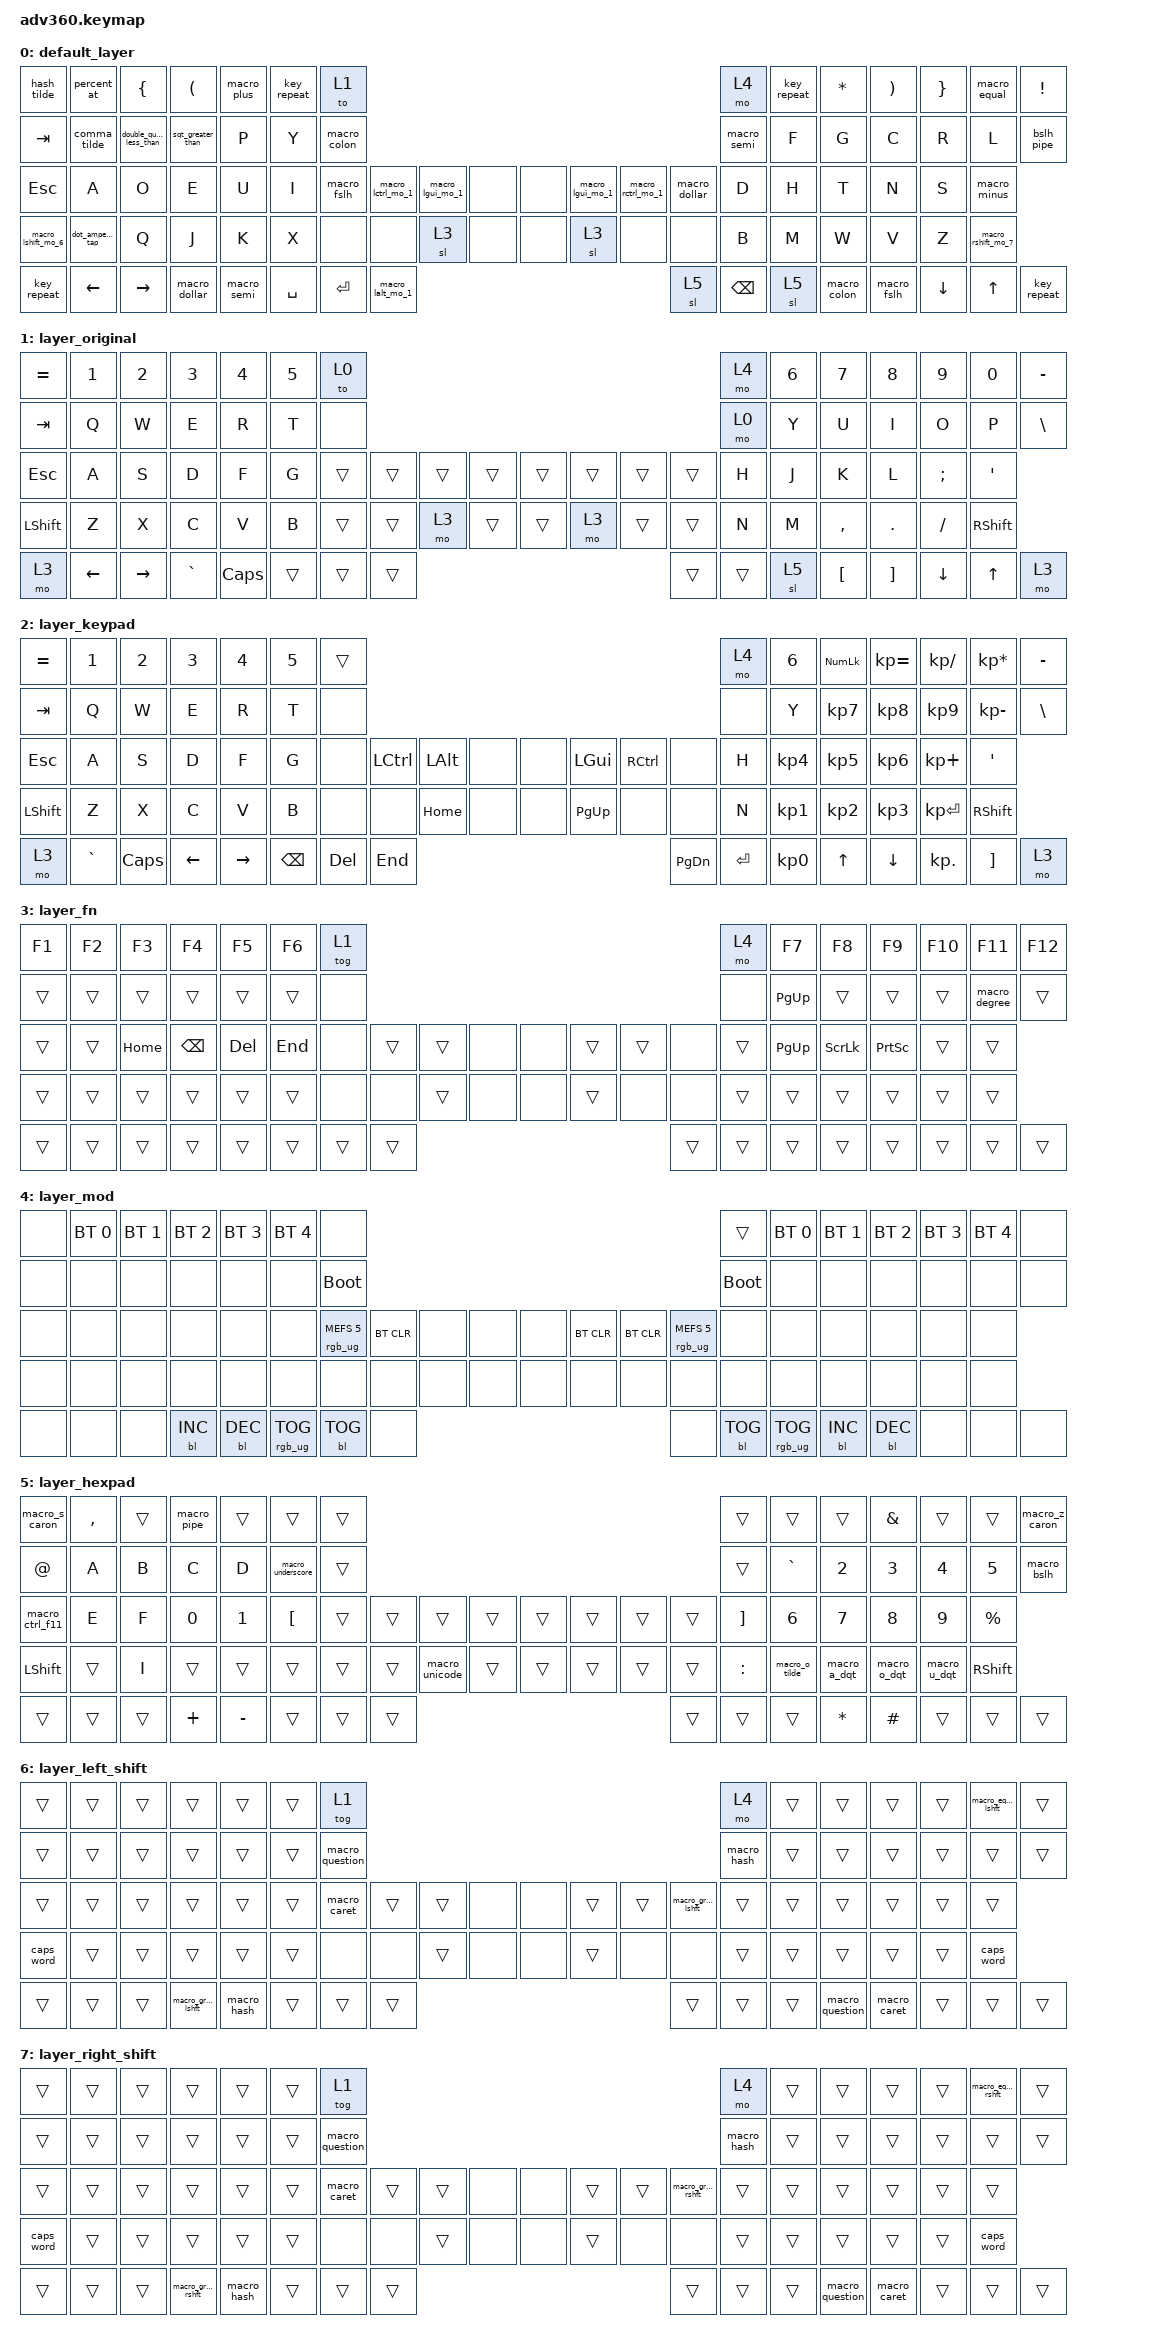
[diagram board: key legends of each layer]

/*
 * Copyright (c) 2020 The ZMK Contributors
 *
 * SPDX-License-Identifier: MIT
 */


/* THIS FILE WAS GENERATED!
 *
 * This file was generated automatically. You may or may not want to
 * edit it directly.
 */

#include <behaviors.dtsi>
#include <dt-bindings/zmk/keys.h>
#include <dt-bindings/zmk/bt.h>
#include <dt-bindings/zmk/rgb.h>
#include <dt-bindings/zmk/backlight.h>

// temporary comment

/ {
  behaviors {
    #include "macros.dtsi"

    hm: homerow_mods {
        compatible = "zmk,behavior-hold-tap";
        label = "HOMEROW_MODS";
        #binding-cells = <2>;
        tapping-term-ms = <200>;
        quick_tap_ms = <175>;
        flavor = "tap-preferred";
        bindings = <&kp>, <&kp>;
    };

    comma_tilde: comma_tilde {
                compatible = "zmk,behavior-mod-morph";
                label = "comma_tilde";
                #binding-cells = <0>;
                bindings = <&kp COMMA>, <&kp TILDE>;
                mods = <(MOD_LSFT|MOD_RSFT)>;
        };
    double_quotes_less_than: double_quotes_less_than {
                compatible = "zmk,behavior-mod-morph";
                label = "double_quotes_less_than";
                #binding-cells = <0>;
                bindings = <&macro_dqt>, <&kp LESS_THAN>;
                mods = <(MOD_LSFT|MOD_RSFT)>;
        };
    sqt_greater_than: sqt_greater_than {
                compatible = "zmk,behavior-mod-morph";
                label = "sqt_greater_than";
                #binding-cells = <0>;
                bindings = <&macro_sqt>, <&kp GREATER_THAN>;
                mods = <(MOD_LSFT|MOD_RSFT)>;
        };
    bslh_pipe: bslh_pipe {
                compatible = "zmk,behavior-mod-morph";
                label = "bslh_pipe";
                #binding-cells = <0>;
                bindings = <&kp BSLH>, <&kp PIPE>;
                mods = <(MOD_LSFT|MOD_RSFT)>;
        };
    fslh_caret: fslh_caret {
                compatible = "zmk,behavior-mod-morph";
                label = "fslh_caret";
                #binding-cells = <0>;
                bindings = <&macro_fslh>, <&macro_caret>;
                mods = <(MOD_LSFT|MOD_RSFT)>;
        };
    dollar_grave: dollar_grave {
                compatible = "zmk,behavior-mod-morph";
                label = "dollar_grave";
                #binding-cells = <0>;
                bindings = <&kp DOLLAR>, <&kp GRAVE>;
                mods = <(MOD_LSFT|MOD_RSFT)>;
        };
    semi_hash: semi_hash {
                compatible = "zmk,behavior-mod-morph";
                label = "semi_hash";
                #binding-cells = <0>;
                bindings = <&kp SEMI>, <&kp HASH>;
                mods = <(MOD_LSFT|MOD_RSFT)>;
        };
    colon_question: colon_question {
                compatible = "zmk,behavior-mod-morph";
                label = "colon_question";
                #binding-cells = <0>;
                bindings = <&kp COLON>, <&kp QUESTION>;
                mods = <(MOD_LSFT|MOD_RSFT)>;
        };
    dot_ampersand: dot_ampersand {
                compatible = "zmk,behavior-mod-morph";
                label = "dot_ampersand";
                #binding-cells = <0>;
                bindings = <&kp DOT>, <&kp AMPERSAND>;
                mods = <(MOD_LSFT|MOD_RSFT)>;
        };
    dot_ampersand_tap: dot_ampersand_tap {
                compatible = "zmk,behavior-mod-morph";
                label = "dot_ampersand_tap";
                #binding-cells = <0>;
                bindings = <&macro_dot>, <&macro_ampersand>;
                mods = <(MOD_LSFT|MOD_RSFT)>;
        };
    hash_tilde: hash_tilde {
                compatible = "zmk,behavior-mod-morph";
                label = "hash_tilde";
                #binding-cells = <0>;
                bindings = <&kp HASH>, <&kp TILDE>;
                mods = <(MOD_LSFT|MOD_RSFT)>;
        };
    percent_at: percent_at {
                compatible = "zmk,behavior-mod-morph";
                label = "percent_at";
                #binding-cells = <0>;
                bindings = <&kp PERCENT>, <&kp AT>;
                mods = <(MOD_LSFT|MOD_RSFT)>;
       };
  };

    keymap {
        compatible = "zmk,keymap";


        default_layer {
            bindings = <
&hash_tilde         &percent_at       &kp LEFT_BRACE            &kp LEFT_PARENTHESIS  &macro_plus     &key_repeat  &to 1                                                                                                                               &mo 4           &key_repeat        &kp ASTRK      &kp RIGHT_PARENTHESIS    &kp RIGHT_BRACE     &macro_equal &kp EXCL
&kp TAB             &comma_tilde      &double_quotes_less_than  &sqt_greater_than     &kp P           &kp Y              &macro_colon                                                                                                                        &macro_semi     &kp F                    &kp G          &kp C                  &kp R             &kp L            &bslh_pipe
&kp ESC             &kp A             &kp O                     &kp E                 &kp U           &kp I              &macro_fslh                 &macro_lctrl_mo_1  &macro_lgui_mo_1                &none &none        &macro_lgui_mo_1              &macro_rctrl_mo_1                 &macro_dollar   &kp D                    &kp H          &kp T                  &kp N             &kp S            &macro_minus
&macro_lshift_mo_6  &dot_ampersand_tap    &kp Q                     &kp J                 &kp K           &kp X              &none &none                                    &sl 3              &none &none  &sl 3   &none &none                                       &kp B                    &kp M          &kp W                  &kp V             &kp Z            &macro_rshift_mo_7
&key_repeat        &kp LEFT          &kp RIGHT                 &macro_dollar         &macro_semi                                       &kp SPACE    &kp ENTER          &macro_lalt_mo_1               /* &macro_lalt_mo_1 temporarily swap alt with sl */ &sl 5   &kp BSPC             &sl 5                                                 &macro_colon   &macro_fslh            &kp DOWN          &kp UP           &key_repeat
            >;
        };

        layer_original {
            bindings = <
 &kp EQUAL      &kp N1    &kp N2        &kp N3     &kp N4      &kp N5              &to 0                                                                 &mo 4  &kp N6     &kp N7     &kp N8       &kp N9     &kp N0       &kp MINUS
   &kp TAB      &kp Q     &kp W         &kp E      &kp R       &kp T               &none                                                                 &mo 0   &kp Y      &kp U      &kp I        &kp O      &kp P        &kp BSLH
   &kp ESC      &kp A     &kp S         &kp D      &kp F       &kp G               &trans      &trans  &trans   &trans   &trans   &trans  &trans      &trans   &kp H  &kp J      &kp K        &kp L      &kp SEMI     &kp SQT
 &kp LSHFT      &kp Z     &kp X         &kp C      &kp V       &kp B               &trans      &trans  &mo 3  &trans   &trans  &mo 3      &trans      &trans   &kp N      &kp M      &kp COMMA    &kp DOT    &kp FSLH     &kp RSHFT
     &mo 3      &kp LEFT  &kp RIGHT     &kp GRAVE  &kp CAPS                        &trans   &trans   &trans                   &trans  &trans  &sl 5            &kp LBKT  &kp RBKT     &kp DOWN     &kp UP     &mo 3
            >;
        };

        layer_keypad {
            bindings = <
 &kp EQUAL     &kp N1    &kp N2    &kp N3     &kp N4  &kp N5              &trans                                                                 &mo 4  &kp N6  &kp KP_NUM  &kp KP_EQUAL  &kp KP_DIVIDE  &kp KP_MULTIPLY  &kp MINUS
   &kp TAB      &kp Q     &kp W     &kp E      &kp R   &kp T               &none                                                                 &none   &kp Y   &kp KP_N7     &kp KP_N8      &kp KP_N9     &kp KP_MINUS   &kp BSLH
   &kp ESC      &kp A     &kp S     &kp D      &kp F   &kp G               &none  &kp LCTRL  &kp LALT   &none   &none   &kp LGUI  &kp RCTRL      &none   &kp H   &kp KP_N4     &kp KP_N5      &kp KP_N6      &kp KP_PLUS    &kp SQT
 &kp LSHFT      &kp Z     &kp X     &kp C      &kp V   &kp B               &none      &none  &kp HOME   &none   &none  &kp PG_UP      &none      &none   &kp N   &kp KP_N1     &kp KP_N2      &kp KP_N3     &kp KP_ENTER  &kp RSHFT
     &mo 3  &kp GRAVE  &kp CAPS  &kp LEFT  &kp RIGHT                    &kp BSPC    &kp DEL   &kp END                  &kp PG_DN  &kp ENTER  &kp KP_N0              &kp UP      &kp DOWN     &kp KP_DOT         &kp RBKT      &mo 3
            >;
        };

        layer_fn {
            bindings = <
 &kp F1  &kp F2  &kp F3    &kp F4    &kp F5   &kp F6            &tog 1                                                   &mo 4    &kp F7  &kp F8  &kp F9   &kp F10  &kp F11  &kp F12
 &trans  &trans  &trans    &trans    &trans   &trans            &none                                                    &none    &kp PG_UP  &trans  &trans   &trans   &macro_degree   &trans
 &trans  &trans  &kp HOME  &kp BSPC  &kp DEL  &kp END  &none    &trans  &trans  &none    &none   &trans  &trans  &none   &trans   &kp PG_UP  &kp SCROLLLOCK   &kp PRINTSCREEN   &trans   &trans
 &trans  &trans  &trans    &trans    &trans   &trans            &none   &none   &trans   &none   &none   &trans  &none   &none    &trans  &trans  &trans   &trans   &trans   &trans
 &trans  &trans  &trans    &trans    &trans                     &trans  &trans  &trans                   &trans  &trans  &trans           &trans  &trans   &trans   &trans   &trans
            >;
        };

        layer_mod {
            bindings = <
  &none  &bt BT_SEL 0  &bt BT_SEL 1  &bt BT_SEL 2  &bt BT_SEL 3  &bt BT_SEL 4                             &none                                                                              &trans  &bt BT_SEL 0  &bt BT_SEL 1  &bt BT_SEL 2  &bt BT_SEL 3  &bt BT_SEL 4   &none
  &none         &none         &none         &none         &none         &none                       &bootloader                                                                         &bootloader         &none         &none         &none         &none         &none   &none
  &none         &none         &none         &none         &none         &none            &rgb_ug RGB_MEFS_CMD 5  &bt BT_CLR   &none   &none   &none  &bt BT_CLR  &bt BT_CLR  &rgb_ug RGB_MEFS_CMD 5         &none         &none         &none         &none         &none   &none
  &none         &none         &none         &none         &none         &none                             &none       &none   &none   &none   &none       &none       &none                   &none         &none         &none         &none         &none         &none   &none
  &none         &none         &none    &bl BL_INC    &bl BL_DEC                                 &rgb_ug RGB_TOG  &bl BL_TOG   &none                       &none  &bl BL_TOG         &rgb_ug RGB_TOG                  &bl BL_INC    &bl BL_DEC         &none         &none   &none
            >;
        };

        layer_hexpad {
            bindings = <
     &macro_s_caron  &kp COMMA    &trans    &macro_pipe     &trans    &trans            &trans                                                  &trans    &trans  &trans  &kp AMPERSAND  &trans  &trans     &macro_z_caron
     &kp AT   &kp A      &kp B     &kp C      &kp D    &macro_underscore            &trans                                                  &trans    &kp GRAVE  &kp N2  &kp N3  &kp N4  &kp N5     &macro_bslh
     &macro_ctrl_f11   &kp E      &kp F    &kp N0     &kp N1  &kp LBKT            &trans  &trans  &trans  &trans  &trans  &trans  &trans  &trans  &kp RBKT  &kp N6  &kp N7  &kp N8  &kp N9     &kp PERCENT
 &kp LSHFT  &trans  &kp I    &trans     &trans    &trans            &trans  &trans  &macro_unicode  &trans  &trans  &trans  &trans  &trans    &kp COLON  &macro_o_tilde  &macro_a_dqt  &macro_o_dqt  &macro_u_dqt  &kp RSHFT
     &trans  &trans     &trans  &kp PLUS  &kp MINUS                      &trans  &trans  &trans                  &trans  &trans  &trans            &kp ASTRK &kp HASH    &trans  &trans     &trans
            >;
        };

        layer_left_shift {
            bindings = <
 &trans      &trans  &trans  &trans               &trans       &trans            &tog 1                                                        &mo 4                &trans  &trans           &trans         &trans   &macro_equal_lshft   &trans
 &trans      &trans  &trans  &trans               &trans       &trans            &macro_question                                               &macro_hash          &trans  &trans           &trans         &trans   &trans   &trans
 &trans      &trans  &trans  &trans               &trans       &trans            &macro_caret  &trans  &trans   &none   &none  &trans  &trans  &macro_grave_lshft   &trans  &trans           &trans         &trans   &trans   &trans
 &caps_word  &trans  &trans  &trans               &trans       &trans            &none         &none   &trans   &none   &none  &trans  &none   &none                &trans  &trans           &trans         &trans   &trans   &caps_word
 &trans      &trans  &trans  &macro_grave_lshft   &macro_hash                    &trans        &trans  &trans                  &trans  &trans  &trans                       &macro_question  &macro_caret   &trans   &trans   &trans
            >;
        };
        layer_right_shift {
            bindings = <
 &trans      &trans  &trans  &trans               &trans       &trans            &tog 1                                                        &mo 4                &trans  &trans           &trans         &trans   &macro_equal_rshft   &trans
 &trans      &trans  &trans  &trans               &trans       &trans            &macro_question                                               &macro_hash          &trans  &trans           &trans         &trans   &trans   &trans
 &trans      &trans  &trans  &trans               &trans       &trans            &macro_caret  &trans  &trans   &none   &none  &trans  &trans  &macro_grave_rshft   &trans  &trans           &trans         &trans   &trans   &trans
 &caps_word  &trans  &trans  &trans               &trans       &trans            &none         &none   &trans   &none   &none  &trans  &none   &none                &trans  &trans           &trans         &trans   &trans   &caps_word
 &trans      &trans  &trans  &macro_grave_rshft   &macro_hash                    &trans        &trans  &trans                  &trans  &trans  &trans                       &macro_question  &macro_caret   &trans   &trans   &trans
            >;
        };
    };
};
